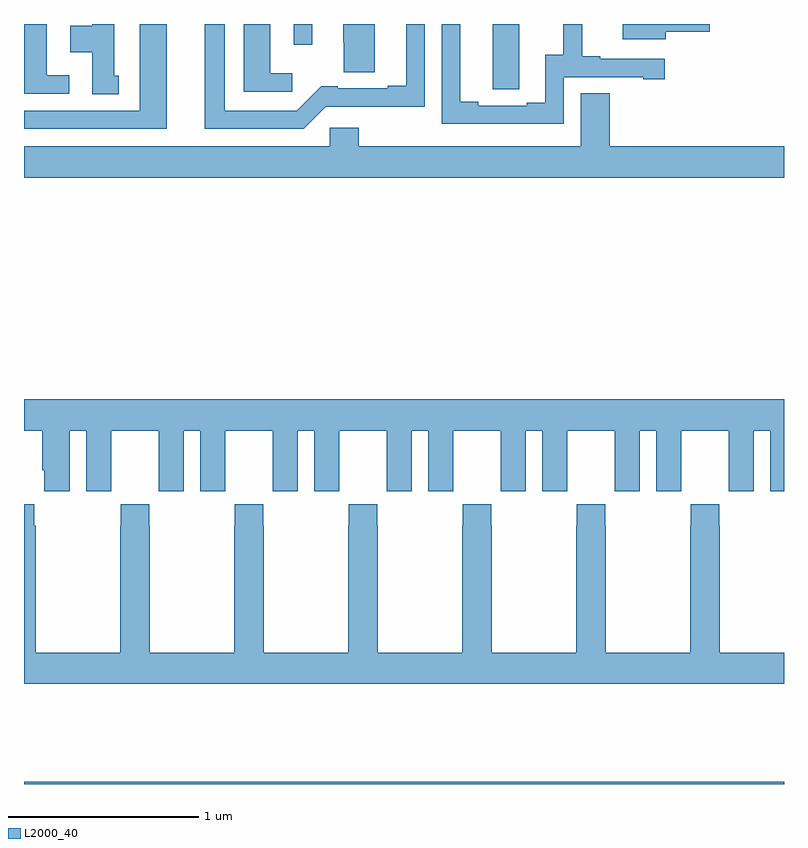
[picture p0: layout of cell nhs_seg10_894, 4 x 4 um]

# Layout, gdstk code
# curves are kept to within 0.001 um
import gdstk
lib = gdstk.Library(unit=1e-6, precision=1e-09)
def R(c, l, rs):  # rectangles x0, y0, x1, y1
    for r in rs: c.add(gdstk.rectangle(r[:2], r[2:], *l))
def P(c, l, *ps):  # polygons
    for p in ps: c.add(gdstk.Polygon(p, *l))
L2000_40 = (2000, 40)

nhs_seg10_894 = lib.new_cell('nhs_seg10_894')
R(nhs_seg10_894, L2000_40, [(157,1254.5,161,1254.512), (158.421,1258.392,158.518,1258.5)])
P(nhs_seg10_894, L2000_40, [(158.845,1258.5),(158.681,1258.5),(158.681,1258.404),(158.683,1258.404),(158.683,1258.246),(158.845,1258.246)],
  [(160.378,1258.46),(160.609,1258.46),(160.609,1258.5),(160.151,1258.5),(160.151,1258.421),(160.378,1258.421)],
  [(157.75,1258.5),(157.61,1258.5),(157.61,1258.044),(157,1258.044),(157,1257.948),(157.75,1257.948)],
  [(157.498,1258.227),(157.474,1258.227),(157.474,1258.5),(157.358,1258.5),(157.358,1258.492),(157.244,1258.492),(157.244,1258.352),(157.358,1258.352),(157.358,1258.129),(157.498,1258.129)],
  [(159.606,1258.264),(159.607,1258.264),(159.607,1258.5),(159.467,1258.5),(159.467,1258.156),(159.606,1258.156)],
  [(157.237,1258.23),(157.12,1258.23),(157.12,1258.5),(157,1258.5),(157,1258.134),(157.237,1258.134)],
  [(159.84,1258.221),(160.259,1258.221),(160.259,1258.209),(160.372,1258.209),(160.372,1258.317),(160.033,1258.317),(160.033,1258.33),(159.938,1258.33),(159.938,1258.5),(159.838,1258.5),(159.838,1258.337),(159.743,1258.337),(159.743,1258.086),(159.647,1258.086),(159.647,1258.071),(159.391,1258.071),(159.391,1258.091),(159.295,1258.091),(159.295,1258.5),(159.198,1258.5),(159.198,1257.975),(159.84,1257.975)],
  [(158.413,1258.24),(158.296,1258.24),(158.296,1258.5),(158.156,1258.5),(158.156,1258.143),(158.413,1258.143)],
  [(158.589,1258.065),(159.108,1258.064),(159.108,1258.5),(159.011,1258.5),(159.011,1258.174),(158.915,1258.174),(158.915,1258.161),(158.65,1258.161),(158.65,1258.172),(158.564,1258.172),(158.436,1258.044),(158.056,1258.044),(158.056,1258.5),(157.952,1258.5),(157.952,1257.948),(158.472,1257.948)],
  [(161,1257.856),(160.082,1257.856),(160.082,1258.136),(159.929,1258.136),(159.929,1257.856),(158.762,1257.856),(158.762,1257.954),(158.61,1257.954),(158.61,1257.856),(157,1257.856),(157,1257.692),(161,1257.692)],
  [(157,1256.36),(157.097,1256.36),(157.097,1256.152),(157.106,1256.152),(157.106,1256.04),(157.24,1256.04),(157.24,1256.36),(157.328,1256.36),(157.328,1256.04),(157.458,1256.04),(157.458,1256.152),(157.459,1256.152),(157.459,1256.36),(157.709,1256.36),(157.709,1256.152),(157.71,1256.152),(157.71,1256.04),(157.84,1256.04),(157.84,1256.36),(157.928,1256.36),(157.928,1256.04),(158.058,1256.04),(158.058,1256.152),(158.059,1256.152),(158.059,1256.36),(158.309,1256.36),(158.309,1256.152),(158.31,1256.152),(158.31,1256.04),(158.44,1256.04),(158.44,1256.36),(158.528,1256.36),(158.528,1256.04),(158.658,1256.04),(158.658,1256.152),(158.659,1256.152),(158.659,1256.36),(158.909,1256.36),(158.909,1256.152),(158.91,1256.152),(158.91,1256.04),(159.04,1256.04),(159.04,1256.36),(159.128,1256.36),(159.128,1256.04),(159.258,1256.04),(159.258,1256.152),(159.259,1256.152),(159.259,1256.36),(159.509,1256.36),(159.509,1256.152),(159.51,1256.152),(159.51,1256.04),(159.64,1256.04),(159.64,1256.36),(159.728,1256.36),(159.728,1256.04),(159.858,1256.04),(159.858,1256.152),(159.859,1256.152),(159.859,1256.36),(160.109,1256.36),(160.109,1256.152),(160.11,1256.152),(160.11,1256.04),(160.24,1256.04),(160.24,1256.36),(160.328,1256.36),(160.328,1256.04),(160.458,1256.04),(160.458,1256.152),(160.459,1256.152),(160.459,1256.36),(160.709,1256.36),(160.709,1256.152),(160.71,1256.152),(160.71,1256.04),(160.84,1256.04),(160.84,1256.36),(160.928,1256.36),(160.928,1256.04),(161,1256.04),(161,1256.524),(157,1256.524)],
  [(161,1255.192),(160.662,1255.192),(160.662,1255.859),(160.659,1255.859),(160.659,1255.972),(160.509,1255.972),(160.509,1255.859),(160.507,1255.859),(160.507,1255.192),(160.062,1255.192),(160.062,1255.859),(160.059,1255.859),(160.059,1255.972),(159.909,1255.972),(159.909,1255.859),(159.907,1255.859),(159.907,1255.192),(159.462,1255.192),(159.462,1255.859),(159.459,1255.859),(159.459,1255.972),(159.309,1255.972),(159.309,1255.859),(159.307,1255.859),(159.307,1255.192),(158.862,1255.192),(158.862,1255.859),(158.859,1255.859),(158.859,1255.972),(158.709,1255.972),(158.709,1255.859),(158.707,1255.859),(158.707,1255.192),(158.262,1255.192),(158.262,1255.859),(158.259,1255.859),(158.259,1255.972),(158.109,1255.972),(158.109,1255.859),(158.107,1255.859),(158.107,1255.192),(157.662,1255.192),(157.662,1255.859),(157.659,1255.859),(157.659,1255.972),(157.509,1255.972),(157.509,1255.859),(157.507,1255.859),(157.507,1255.192),(157.062,1255.192),(157.062,1255.859),(157.055,1255.859),(157.055,1255.972),(157,1255.972),(157,1255.028),(161,1255.028)])

lib.write_gds('nhs_seg10_894.gds')
